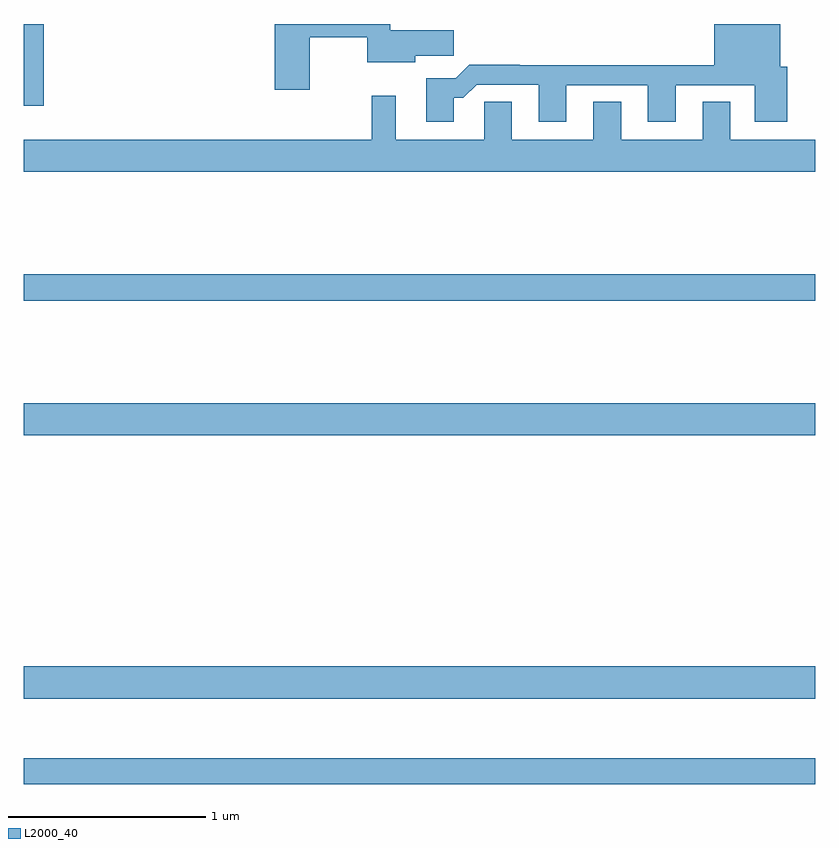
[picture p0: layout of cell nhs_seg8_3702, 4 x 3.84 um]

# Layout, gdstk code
import gdstk
lib = gdstk.Library(unit=1e-6, precision=1e-09)
def R(c, l, rs):  # rectangles x0, y0, x1, y1
    for r in rs: c.add(gdstk.rectangle(r[:2], r[2:], *l))
def P(c, l, *ps):  # polygons
    for p in ps: c.add(gdstk.Polygon(p, *l))
L2000_40 = (2000, 40)

nhs_seg8_3702 = lib.new_cell('nhs_seg8_3702')
R(nhs_seg8_3702, L2000_40, [(339,1128.058,343,1128.187), (339,1128.488,343,1128.652), (339,1129.82,343,1129.984), (339,1130.5,343,1130.636), (339,1131.486,339.101,1131.9)])
P(nhs_seg8_3702, L2000_40, [(340.446,1131.832),(340.735,1131.832),(340.735,1131.707),(340.978,1131.707),(340.978,1131.739),(341.173,1131.739),(341.173,1131.868),(340.852,1131.868),(340.852,1131.9),(340.268,1131.9),(340.268,1131.567),(340.446,1131.567)],
  [(341.173,1131.527),(341.222,1131.527),(341.289,1131.594),(341.603,1131.594),(341.603,1131.405),(341.743,1131.405),(341.743,1131.591),(342.155,1131.591),(342.155,1131.405),(342.295,1131.405),(342.295,1131.591),(342.695,1131.591),(342.695,1131.405),(342.86,1131.405),(342.86,1131.684),(342.823,1131.684),(342.823,1131.9),(342.491,1131.9),(342.491,1131.692),(341.507,1131.692),(341.507,1131.695),(341.252,1131.695),(341.182,1131.625),(341.033,1131.625),(341.033,1131.405),(341.173,1131.405)],
  [(343,1131.316),(342.571,1131.316),(342.571,1131.506),(342.431,1131.506),(342.431,1131.316),(342.019,1131.316),(342.019,1131.506),(341.879,1131.506),(341.879,1131.316),(341.467,1131.316),(341.467,1131.506),(341.328,1131.506),(341.328,1131.316),(340.879,1131.316),(340.879,1131.538),(340.758,1131.538),(340.758,1131.316),(339,1131.316),(339,1131.152),(343,1131.152)])

lib.write_gds('nhs_seg8_3702.gds')
